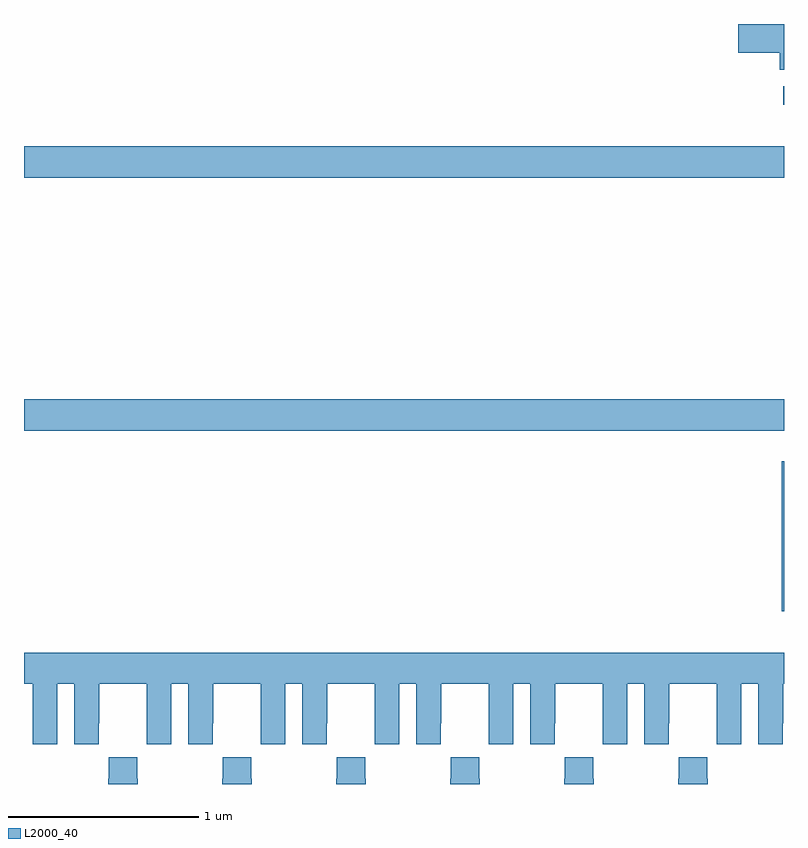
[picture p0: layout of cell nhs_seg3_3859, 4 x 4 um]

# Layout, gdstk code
import gdstk
lib = gdstk.Library(unit=1e-6, precision=1e-09)
def R(c, l, rs):  # rectangles x0, y0, x1, y1
    for r in rs: c.add(gdstk.rectangle(r[:2], r[2:], *l))
def P(c, l, *ps):  # polygons
    for p in ps: c.add(gdstk.Polygon(p, *l))
L2000_40 = (2000, 40)

nhs_seg3_3859 = lib.new_cell('nhs_seg3_3859')
R(nhs_seg3_3859, L2000_40, [(314.988,689.309,315,690.1), (311,690.26,315,690.424), (311,691.592,315,691.756), (314.997,691.975,315,692.073)])
P(nhs_seg3_3859, L2000_40, [(315,692.4),(314.76,692.4),(314.76,692.249),(314.978,692.249),(314.978,692.158),(315,692.158)],
  [(311.176,688.928),(311.264,688.928),(311.264,688.608),(311.394,688.608),(311.394,688.72),(311.395,688.72),(311.395,688.928),(311.645,688.928),(311.645,688.72),(311.646,688.72),(311.646,688.608),(311.776,688.608),(311.776,688.928),(311.864,688.928),(311.864,688.608),(311.994,688.608),(311.994,688.72),(311.995,688.72),(311.995,688.928),(312.245,688.928),(312.245,688.72),(312.246,688.72),(312.246,688.608),(312.376,688.608),(312.376,688.928),(312.464,688.928),(312.464,688.608),(312.594,688.608),(312.594,688.72),(312.595,688.72),(312.595,688.928),(312.845,688.928),(312.845,688.72),(312.846,688.72),(312.846,688.608),(312.976,688.608),(312.976,688.928),(313.064,688.928),(313.064,688.608),(313.194,688.608),(313.194,688.72),(313.195,688.72),(313.195,688.928),(313.445,688.928),(313.445,688.72),(313.446,688.72),(313.446,688.608),(313.576,688.608),(313.576,688.928),(313.664,688.928),(313.664,688.608),(313.794,688.608),(313.794,688.72),(313.795,688.72),(313.795,688.928),(314.045,688.928),(314.045,688.72),(314.046,688.72),(314.046,688.608),(314.176,688.608),(314.176,688.928),(314.264,688.928),(314.264,688.608),(314.394,688.608),(314.394,688.72),(314.395,688.72),(314.395,688.928),(314.645,688.928),(314.645,688.72),(314.646,688.72),(314.646,688.608),(314.776,688.608),(314.776,688.928),(314.864,688.928),(314.864,688.608),(314.994,688.608),(314.994,688.72),(314.995,688.72),(314.995,688.928),(315,688.928),(315,689.092),(311,689.092),(311,688.928),(311.045,688.928),(311.045,688.72),(311.046,688.72),(311.046,688.608),(311.176,688.608)],
  [(311.598,688.427),(311.595,688.427),(311.595,688.54),(311.445,688.54),(311.445,688.427),(311.443,688.427),(311.443,688.4),(311.598,688.4)],
  [(312.198,688.427),(312.195,688.427),(312.195,688.54),(312.045,688.54),(312.045,688.427),(312.043,688.427),(312.043,688.4),(312.198,688.4)],
  [(312.798,688.427),(312.795,688.427),(312.795,688.54),(312.645,688.54),(312.645,688.427),(312.643,688.427),(312.643,688.4),(312.798,688.4)],
  [(313.398,688.427),(313.395,688.427),(313.395,688.54),(313.245,688.54),(313.245,688.427),(313.243,688.427),(313.243,688.4),(313.398,688.4)],
  [(314.598,688.427),(314.595,688.427),(314.595,688.54),(314.445,688.54),(314.445,688.427),(314.443,688.427),(314.443,688.4),(314.598,688.4)],
  [(313.998,688.427),(313.995,688.427),(313.995,688.54),(313.845,688.54),(313.845,688.427),(313.843,688.427),(313.843,688.4),(313.998,688.4)])

lib.write_gds('nhs_seg3_3859.gds')
